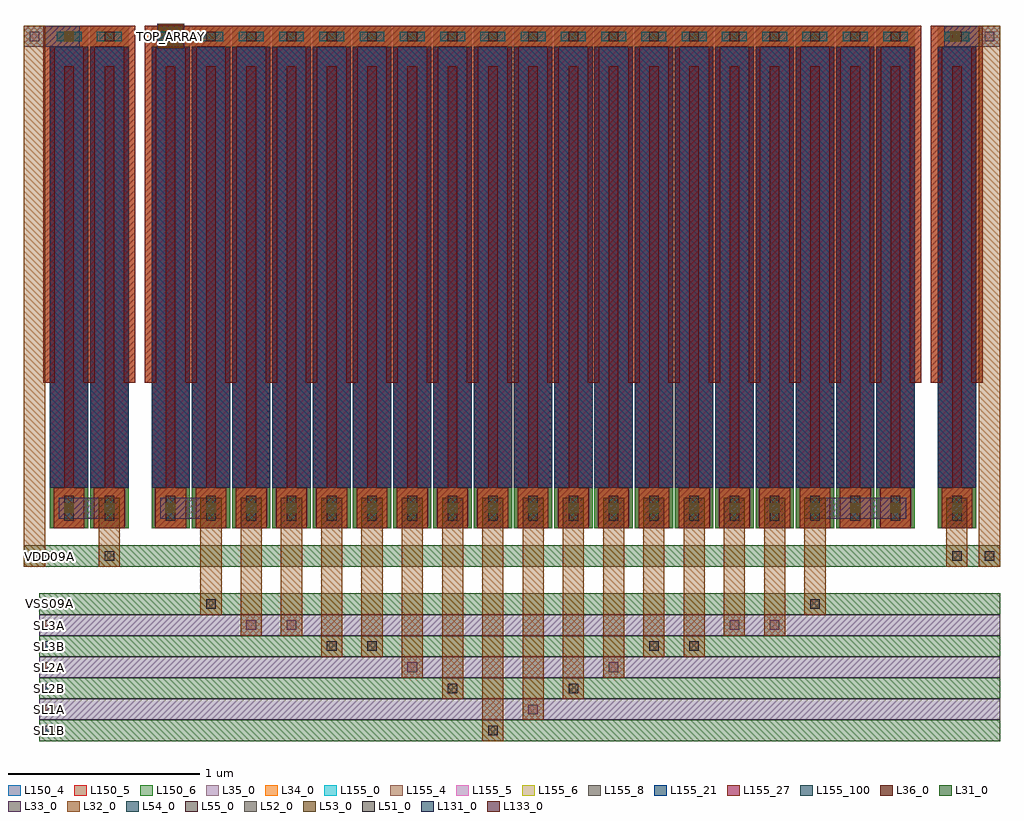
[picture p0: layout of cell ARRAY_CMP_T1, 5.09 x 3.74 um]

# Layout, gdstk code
from math import pi, radians
import gdstk
lib = gdstk.Library(unit=1e-6, precision=1e-09)
def R(c, l, rs):  # rectangles x0, y0, x1, y1
    for r in rs: c.add(gdstk.rectangle(r[:2], r[2:], *l))
def A(c, l, x, y, w, h, nx, ny, dx, dy):  # array of equal rectangles
    R(c, l, [(x+i*dx, y+j*dy, x+i*dx+w, y+j*dy+h) for i in range(nx) for j in range(ny)])
L31_0 = (31, 0)
L32_0 = (32, 0)
L33_0 = (33, 0)
L34_0 = (34, 0)
L35_0 = (35, 0)
L36_0 = (36, 0)
L51_0 = (51, 0)
L52_0 = (52, 0)
L53_0 = (53, 0)
L54_0 = (54, 0)
L55_0 = (55, 0)
L131_0 = (131, 0)
L133_0 = (133, 0)
L150_4 = (150, 4)
L150_5 = (150, 5)
L150_6 = (150, 6)
L155_0 = (155, 0)
L155_4 = (155, 4)
L155_5 = (155, 5)
L155_6 = (155, 6)
L155_8 = (155, 8)
L155_21 = (155, 21)
L155_27 = (155, 27)
L155_100 = (155, 100)

m5_m4_cdns_622193633406 = lib.new_cell('M5_M4_CDNS_622193633406')
R(m5_m4_cdns_622193633406, L34_0, [(-0.07,-0.105,0.07,0.105)])
R(m5_m4_cdns_622193633406, L35_0, [(-0.07,-0.105,0.07,0.105)])
R(m5_m4_cdns_622193633406, L54_0, [(-0.025,-0.065,0.025,0.065)])

m6_m5_cdns_622193633407 = lib.new_cell('M6_M5_CDNS_622193633407')
R(m6_m5_cdns_622193633407, L35_0, [(-0.07,-0.105,0.07,0.105)])
R(m6_m5_cdns_622193633407, L36_0, [(-0.055,-0.105,0.055,0.105)])
R(m6_m5_cdns_622193633407, L55_0, [(-0.025,-0.065,0.025,0.065)])

m5_m4_cdns_622193633408 = lib.new_cell('M5_M4_CDNS_622193633408')
R(m5_m4_cdns_622193633408, L34_0, [(-0.095,-0.055,0.095,0.055)])
R(m5_m4_cdns_622193633408, L35_0, [(-0.12,-0.055,0.12,0.055)])
R(m5_m4_cdns_622193633408, L54_0, [(-0.065,-0.025,0.065,0.025)])

m6_m5_cdns_622193633409 = lib.new_cell('M6_M5_CDNS_622193633409')
R(m6_m5_cdns_622193633409, L35_0, [(-0.055,-0.055,0.055,0.055)])
R(m6_m5_cdns_622193633409, L36_0, [(-0.055,-0.055,0.055,0.055)])
R(m6_m5_cdns_622193633409, L55_0, [(-0.025,-0.025,0.025,0.025)])

cu1f = lib.new_cell('CU1F')
R(cu1f, L34_0, [(0.02,0,0.18,0.21), (-0.035,2.51,0.235,2.62)])
R(cu1f, L35_0, [(0.02,0,0.18,0.21), (-0.035,2.51,0.235,2.62)])
R(cu1f, L36_0, [(0.02,0,0.18,0.21), (-0.035,2.51,0.235,2.62)])
R(cu1f, L150_4, [(0,0,0.2,2.62)])
R(cu1f, L150_5, [(0,0,0.2,2.62)])
R(cu1f, L150_6, [(0,0,0.2,2.62)])
R(cu1f, L155_0, [(0,0.21,0.2,2.51)])
R(cu1f, L155_4, [(0,0.21,0.2,2.51)])
R(cu1f, L155_5, [(0,0.21,0.2,2.51)])
R(cu1f, L155_6, [(0,0.21,0.2,2.51)])
R(cu1f, L155_8, [(0,0.21,0.2,2.51)])
R(cu1f, L155_21, [(0,0.21,0.2,2.51)])
R(cu1f, L155_27, [(0,0.21,0.2,2.51)])
R(cu1f, L155_100, [(0,0.21,0.2,2.51)])
cu1f.add(gdstk.FlexPath([(0.205,2.59),(0.205,0.76)], 0.06, ends=(0.03, 0), simple_path=True, layer=34, datatype=0))  # L34_0
cu1f.add(gdstk.FlexPath([(0.1,2.41),(0.1,0)], 0.05, ends="flush", simple_path=True, layer=34, datatype=0))  # L34_0
cu1f.add(gdstk.FlexPath([(-0.005,2.59),(-0.005,0.76)], 0.06, ends=(0.03, 0), simple_path=True, layer=34, datatype=0))  # L34_0
cu1f.add(gdstk.FlexPath([(0.205,0.76),(0.205,2.59)], 0.06, ends=(0, 0.03), simple_path=True, layer=35, datatype=0))  # L35_0
cu1f.add(gdstk.FlexPath([(0.1,2.41),(0.1,0)], 0.05, ends="flush", simple_path=True, layer=35, datatype=0))  # L35_0
cu1f.add(gdstk.FlexPath([(-0.005,0.76),(-0.005,2.59)], 0.06, ends=(0, 0.03), simple_path=True, layer=35, datatype=0))  # L35_0
cu1f.add(gdstk.FlexPath([(0.205,0.76),(0.205,2.59)], 0.06, ends=(0, 0.03), simple_path=True, layer=36, datatype=0))  # L36_0
cu1f.add(gdstk.FlexPath([(0.1,2.41),(0.1,0)], 0.05, ends="flush", simple_path=True, layer=36, datatype=0))  # L36_0
cu1f.add(gdstk.FlexPath([(-0.005,0.76),(-0.005,2.59)], 0.06, ends=(0, 0.03), simple_path=True, layer=36, datatype=0))  # L36_0
cu1f.add(gdstk.Reference(m5_m4_cdns_622193633406, (0.1,0.105), rotation=pi, x_reflection=True))
cu1f.add(gdstk.Reference(m6_m5_cdns_622193633407, (0.1,0.105), rotation=pi, x_reflection=True))
cu1f.add(gdstk.Reference(m5_m4_cdns_622193633408, (0.1,2.565)))
cu1f.add(gdstk.Reference(m6_m5_cdns_622193633409, (0.1,2.565)))

m2_m1_cdns_622193633400 = lib.new_cell('M2_M1_CDNS_622193633400')
R(m2_m1_cdns_622193633400, L31_0, [(-0.055,-0.055,0.055,0.055)])
R(m2_m1_cdns_622193633400, L32_0, [(-0.055,-0.055,0.055,0.055)])
R(m2_m1_cdns_622193633400, L51_0, [(-0.025,-0.025,0.025,0.025)])

m3_m2_cdns_622193633401 = lib.new_cell('M3_M2_CDNS_622193633401')
R(m3_m2_cdns_622193633401, L32_0, [(-0.055,-0.055,0.055,0.055)])
R(m3_m2_cdns_622193633401, L33_0, [(-0.055,-0.055,0.055,0.055)])
R(m3_m2_cdns_622193633401, L52_0, [(-0.025,-0.025,0.025,0.025)])

m4_m3_cdns_622193633402 = lib.new_cell('M4_M3_CDNS_622193633402')
R(m4_m3_cdns_622193633402, L33_0, [(-0.055,-0.055,0.055,0.055)])
R(m4_m3_cdns_622193633402, L34_0, [(-0.055,-0.055,0.055,0.055)])
R(m4_m3_cdns_622193633402, L53_0, [(-0.025,-0.025,0.025,0.025)])

m4_m3_cdns_622193633403 = lib.new_cell('M4_M3_CDNS_622193633403')
R(m4_m3_cdns_622193633403, L33_0, [(-0.07,-0.065,0.07,0.065)])
R(m4_m3_cdns_622193633403, L34_0, [(-0.055,-0.055,0.055,0.055)])
R(m4_m3_cdns_622193633403, L53_0, [(-0.025,-0.025,0.025,0.025)])

m3_m2_cdns_622193633404 = lib.new_cell('M3_M2_CDNS_622193633404')
R(m3_m2_cdns_622193633404, L32_0, [(-0.065,-0.06,0.065,0.06)])
R(m3_m2_cdns_622193633404, L33_0, [(-0.07,-0.065,0.07,0.065)])
R(m3_m2_cdns_622193633404, L52_0, [(-0.025,-0.025,0.025,0.025)])

m2_m1_cdns_622193633405 = lib.new_cell('M2_M1_CDNS_622193633405')
R(m2_m1_cdns_622193633405, L31_0, [(-0.055,-0.055,0.055,0.055)])
R(m2_m1_cdns_622193633405, L32_0, [(-0.065,-0.06,0.065,0.06)])
R(m2_m1_cdns_622193633405, L51_0, [(-0.025,-0.025,0.025,0.025)])

array_cmp_t1 = lib.new_cell('ARRAY_CMP_T1')
A(array_cmp_t1, L31_0, -0.055, -1.11, 5.01, 0.11, 1, 4, 0, 0.22)
R(array_cmp_t1, L31_0, [(-0.135,-0.2,4.955,-0.09), (0.56,2.5,0.7,2.63)])
R(array_cmp_t1, L32_0, [(2.255,-1.11,2.365,0.16), (2.465,-1,2.575,0.16), (2.045,-0.89,2.155,0.16), (2.675,-0.89,2.785,0.16), (1.835,-0.78,1.945,0.16), (2.885,-0.78,2.995,0.16), (1.415,-0.67,1.525,0.16), (1.625,-0.67,1.735,0.16), (3.095,-0.67,3.205,0.16), (3.305,-0.67,3.415,0.16), (0.995,-0.56,1.105,0.16), (1.205,-0.56,1.315,0.16), (3.515,-0.56,3.625,0.16), (3.725,-0.56,3.835,0.16), (0.785,-0.45,0.895,0.16), (3.935,-0.45,4.045,0.16), (-0.135,-0.2,-0.025,2.62), (0.255,-0.2,0.365,0.16), (4.675,-0.2,4.785,0.16), (4.845,-0.2,4.955,2.62)])
A(array_cmp_t1, L33_0, -0.055, -1, 5.01, 0.11, 1, 3, 0, 0.22)
A(array_cmp_t1, L33_0, 0.995, 0, 0.11, 0.16, 14, 1, 0.21, 0)
R(array_cmp_t1, L33_0, [(4.675,0,4.785,0.16), (0.045,0.05,0.365,0.16), (0.575,0.05,0.895,0.16), (3.935,0.05,4.465,0.16), (-0.135,2.51,0.155,2.62), (4.665,2.51,4.955,2.62)])
A(array_cmp_t1, L131_0, -0.025, -1.08, 0.05, 0.05, 1, 4, 0, 0.22)
R(array_cmp_t1, L131_0, [(-0.025,-0.17,0.025,-0.12), (0.605,2.54,0.655,2.59)])
A(array_cmp_t1, L133_0, -0.025, -0.97, 0.05, 0.05, 1, 3, 0, 0.22)
array_cmp_t1.add(gdstk.Reference(cu1f, (0,0)))
array_cmp_t1.add(gdstk.Reference(cu1f, (0.21,0)))
array_cmp_t1.add(gdstk.Reference(cu1f, (0.53,0)))
array_cmp_t1.add(gdstk.Reference(cu1f, (0.74,0)))
array_cmp_t1.add(gdstk.Reference(cu1f, (4.63,0)))
array_cmp_t1.add(gdstk.Reference(cu1f, (4.31,0)))
array_cmp_t1.add(gdstk.Reference(cu1f, (4.1,0)))
array_cmp_t1.add(gdstk.Reference(cu1f, (3.89,0)))
array_cmp_t1.add(gdstk.Reference(cu1f, (3.68,0)))
array_cmp_t1.add(gdstk.Reference(cu1f, (3.47,0)))
array_cmp_t1.add(gdstk.Reference(cu1f, (3.26,0)))
array_cmp_t1.add(gdstk.Reference(cu1f, (3.05,0)))
array_cmp_t1.add(gdstk.Reference(cu1f, (2.84,0)))
array_cmp_t1.add(gdstk.Reference(cu1f, (2.63,0)))
array_cmp_t1.add(gdstk.Reference(cu1f, (2.42,0)))
array_cmp_t1.add(gdstk.Reference(cu1f, (2.21,0)))
array_cmp_t1.add(gdstk.Reference(cu1f, (2,0)))
array_cmp_t1.add(gdstk.Reference(cu1f, (1.79,0)))
array_cmp_t1.add(gdstk.Reference(cu1f, (1.58,0)))
array_cmp_t1.add(gdstk.Reference(cu1f, (1.37,0)))
array_cmp_t1.add(gdstk.Reference(cu1f, (1.16,0)))
array_cmp_t1.add(gdstk.Reference(cu1f, (0.95,0)))
array_cmp_t1.add(gdstk.Reference(m2_m1_cdns_622193633400, (4.9,-0.145)))
array_cmp_t1.add(gdstk.Reference(m2_m1_cdns_622193633400, (-0.08,-0.145)))
array_cmp_t1.add(gdstk.Reference(m2_m1_cdns_622193633400, (3.99,-0.395)))
array_cmp_t1.add(gdstk.Reference(m2_m1_cdns_622193633400, (4.73,-0.145)))
array_cmp_t1.add(gdstk.Reference(m2_m1_cdns_622193633400, (0.31,-0.145)))
array_cmp_t1.add(gdstk.Reference(m2_m1_cdns_622193633400, (2.31,-1.055)))
array_cmp_t1.add(gdstk.Reference(m2_m1_cdns_622193633400, (2.1,-0.835)))
array_cmp_t1.add(gdstk.Reference(m2_m1_cdns_622193633400, (2.73,-0.835)))
array_cmp_t1.add(gdstk.Reference(m2_m1_cdns_622193633400, (1.68,-0.615)))
array_cmp_t1.add(gdstk.Reference(m2_m1_cdns_622193633400, (1.47,-0.615)))
array_cmp_t1.add(gdstk.Reference(m2_m1_cdns_622193633400, (3.15,-0.615)))
array_cmp_t1.add(gdstk.Reference(m2_m1_cdns_622193633400, (3.36,-0.615)))
array_cmp_t1.add(gdstk.Reference(m2_m1_cdns_622193633400, (0.84,-0.395)))
array_cmp_t1.add(gdstk.Reference(m3_m2_cdns_622193633401, (3.57,-0.505)))
array_cmp_t1.add(gdstk.Reference(m3_m2_cdns_622193633401, (4.9,2.565)))
array_cmp_t1.add(gdstk.Reference(m3_m2_cdns_622193633401, (-0.08,2.565)))
array_cmp_t1.add(gdstk.Reference(m3_m2_cdns_622193633401, (1.05,0.105)))
array_cmp_t1.add(gdstk.Reference(m3_m2_cdns_622193633401, (1.26,0.105)))
array_cmp_t1.add(gdstk.Reference(m3_m2_cdns_622193633401, (1.47,0.105)))
array_cmp_t1.add(gdstk.Reference(m3_m2_cdns_622193633401, (1.68,0.105)))
array_cmp_t1.add(gdstk.Reference(m3_m2_cdns_622193633401, (1.89,0.105)))
array_cmp_t1.add(gdstk.Reference(m3_m2_cdns_622193633401, (2.1,0.105)))
array_cmp_t1.add(gdstk.Reference(m3_m2_cdns_622193633401, (2.31,0.105)))
array_cmp_t1.add(gdstk.Reference(m3_m2_cdns_622193633401, (2.52,0.105)))
array_cmp_t1.add(gdstk.Reference(m3_m2_cdns_622193633401, (2.73,0.105)))
array_cmp_t1.add(gdstk.Reference(m3_m2_cdns_622193633401, (2.94,0.105)))
array_cmp_t1.add(gdstk.Reference(m3_m2_cdns_622193633401, (3.15,0.105)))
array_cmp_t1.add(gdstk.Reference(m3_m2_cdns_622193633401, (3.36,0.105)))
array_cmp_t1.add(gdstk.Reference(m3_m2_cdns_622193633401, (3.57,0.105)))
array_cmp_t1.add(gdstk.Reference(m3_m2_cdns_622193633401, (3.78,0.105)))
array_cmp_t1.add(gdstk.Reference(m3_m2_cdns_622193633401, (4.73,0.105)))
array_cmp_t1.add(gdstk.Reference(m3_m2_cdns_622193633401, (3.99,0.105)))
array_cmp_t1.add(gdstk.Reference(m3_m2_cdns_622193633401, (0.84,0.105)))
array_cmp_t1.add(gdstk.Reference(m3_m2_cdns_622193633401, (0.31,0.105)))
array_cmp_t1.add(gdstk.Reference(m3_m2_cdns_622193633401, (2.52,-0.945)))
array_cmp_t1.add(gdstk.Reference(m3_m2_cdns_622193633401, (2.94,-0.725)))
array_cmp_t1.add(gdstk.Reference(m3_m2_cdns_622193633401, (1.05,-0.505)))
array_cmp_t1.add(gdstk.Reference(m3_m2_cdns_622193633401, (3.78,-0.505)))
array_cmp_t1.add(gdstk.Reference(m3_m2_cdns_622193633401, (1.89,-0.725)))
array_cmp_t1.add(gdstk.Reference(m3_m2_cdns_622193633401, (1.26,-0.505)))
array_cmp_t1.add(gdstk.Reference(m4_m3_cdns_622193633402, (4.72,2.565), rotation=pi, x_reflection=True))
array_cmp_t1.add(gdstk.Reference(m4_m3_cdns_622193633402, (0.1,2.565)))
array_cmp_t1.add(gdstk.Reference(m4_m3_cdns_622193633402, (1.05,0.105)))
array_cmp_t1.add(gdstk.Reference(m4_m3_cdns_622193633402, (1.26,0.105)))
array_cmp_t1.add(gdstk.Reference(m4_m3_cdns_622193633402, (1.47,0.105)))
array_cmp_t1.add(gdstk.Reference(m4_m3_cdns_622193633402, (1.68,0.105)))
array_cmp_t1.add(gdstk.Reference(m4_m3_cdns_622193633402, (1.89,0.105)))
array_cmp_t1.add(gdstk.Reference(m4_m3_cdns_622193633402, (2.1,0.105)))
array_cmp_t1.add(gdstk.Reference(m4_m3_cdns_622193633402, (2.31,0.105)))
array_cmp_t1.add(gdstk.Reference(m4_m3_cdns_622193633402, (2.52,0.105)))
array_cmp_t1.add(gdstk.Reference(m4_m3_cdns_622193633402, (2.73,0.105)))
array_cmp_t1.add(gdstk.Reference(m4_m3_cdns_622193633402, (2.94,0.105)))
array_cmp_t1.add(gdstk.Reference(m4_m3_cdns_622193633402, (3.15,0.105)))
array_cmp_t1.add(gdstk.Reference(m4_m3_cdns_622193633402, (3.36,0.105)))
array_cmp_t1.add(gdstk.Reference(m4_m3_cdns_622193633402, (3.57,0.105)))
array_cmp_t1.add(gdstk.Reference(m4_m3_cdns_622193633402, (3.78,0.105)))
array_cmp_t1.add(gdstk.Reference(m4_m3_cdns_622193633402, (4.73,0.105)))
array_cmp_t1.add(gdstk.Reference(m4_m3_cdns_622193633402, (4.2,0.105)))
array_cmp_t1.add(gdstk.Reference(m4_m3_cdns_622193633402, (4.41,0.105)))
array_cmp_t1.add(gdstk.Reference(m4_m3_cdns_622193633402, (3.99,0.105)))
array_cmp_t1.add(gdstk.Reference(m4_m3_cdns_622193633402, (0.84,0.105)))
array_cmp_t1.add(gdstk.Reference(m4_m3_cdns_622193633402, (0.63,0.105)))
array_cmp_t1.add(gdstk.Reference(m4_m3_cdns_622193633402, (0.1,0.105)))
array_cmp_t1.add(gdstk.Reference(m4_m3_cdns_622193633402, (0.31,0.105)))
array_cmp_t1.add(gdstk.Reference(m4_m3_cdns_622193633403, (0.63,2.565)))
array_cmp_t1.add(gdstk.Reference(m3_m2_cdns_622193633404, (0.63,2.565)))
array_cmp_t1.add(gdstk.Reference(m2_m1_cdns_622193633405, (0.63,2.565)))
array_cmp_t1.add(gdstk.Label('SL3A', (0,-0.505), layer=133, texttype=0))
array_cmp_t1.add(gdstk.Label('SL1A', (0,-0.945), layer=133, texttype=0))
array_cmp_t1.add(gdstk.Label('SL2A', (0,-0.725), layer=133, texttype=0))
array_cmp_t1.add(gdstk.Label('VDD09A', (0,-0.145), layer=131, texttype=0))
array_cmp_t1.add(gdstk.Label('SL3B', (0,-0.615), layer=131, texttype=0))
array_cmp_t1.add(gdstk.Label('VSS09A', (0,-0.395), layer=131, texttype=0))
array_cmp_t1.add(gdstk.Label('SL1B', (0,-1.055), layer=131, texttype=0))
array_cmp_t1.add(gdstk.Label('SL2B', (0,-0.835), layer=131, texttype=0))
array_cmp_t1.add(gdstk.Label('TOP_ARRAY', (0.628,2.565), layer=131, texttype=0))

lib.write_gds('ARRAY_CMP_T1.gds')
